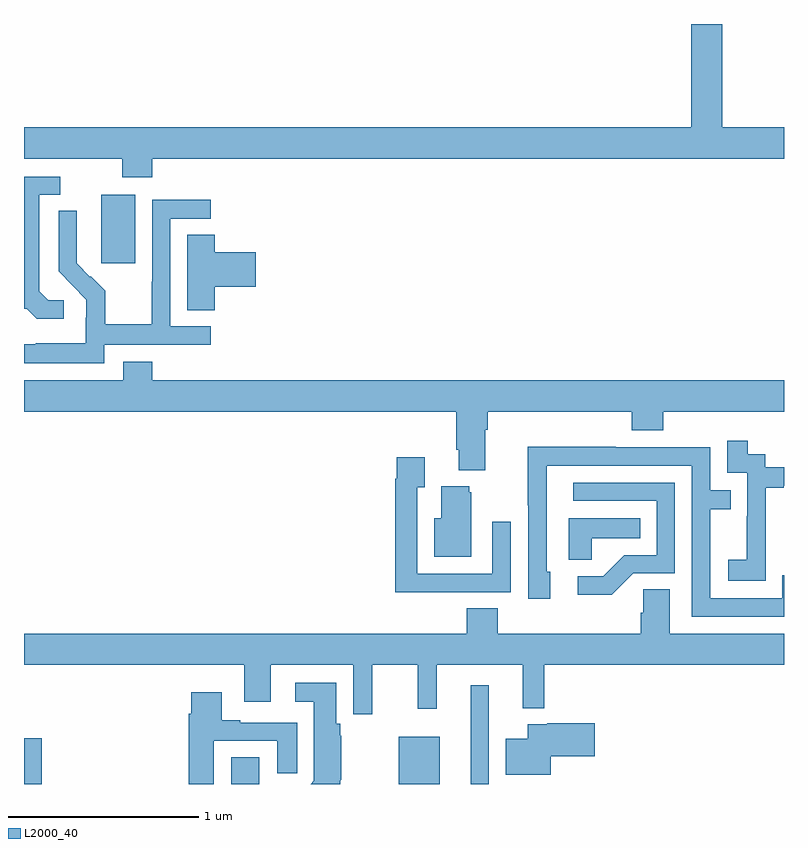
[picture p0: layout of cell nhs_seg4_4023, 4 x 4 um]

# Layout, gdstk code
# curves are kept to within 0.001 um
import gdstk
lib = gdstk.Library(unit=1e-6, precision=1e-09)
def R(c, l, rs):  # rectangles x0, y0, x1, y1
    for r in rs: c.add(gdstk.rectangle(r[:2], r[2:], *l))
def P(c, l, *ps):  # polygons
    for p in ps: c.add(gdstk.Polygon(p, *l))
L2000_40 = (2000, 40)

nhs_seg4_4023 = lib.new_cell('nhs_seg4_4023')
R(nhs_seg4_4023, L2000_40, [(325,754.9,325.094,755.14), (326.09,754.9,326.239,755.042), (326.972,754.9,327.187,755.149), (327.35,754.9,327.447,755.419), (325.406,757.641,325.585,758.002)])
P(nhs_seg4_4023, L2000_40, [(325.676,758.192),(329,758.192),(329,758.356),(328.675,758.356),(328.675,758.9),(328.511,758.9),(328.511,758.356),(325,758.356),(325,758.192),(325.516,758.192),(325.516,758.093),(325.676,758.093)],
  [(325.21,757.446),(325.128,757.446),(325.081,757.493),(325.081,758.001),(325.192,758.001),(325.192,758.097),(325,758.097),(325,757.401),(325.014,757.401),(325.066,757.349),(325.21,757.349)],
  [(325.422,757.212),(325.984,757.212),(325.984,757.308),(325.77,757.308),(325.77,757.875),(325.984,757.875),(325.984,757.974),(325.674,757.974),(325.674,757.544),(325.672,757.544),(325.672,757.321),(325.427,757.321),(325.427,757.495),(325.35,757.572),(325.347,757.569),(325.277,757.64),(325.278,757.916),(325.182,757.916),(325.182,757.598),(325.328,757.45),(325.328,757.353),(325.326,757.353),(325.326,757.219),(325.063,757.219),(325.063,757.215),(325,757.215),(325,757.115),(325.422,757.115)],
  [(326.003,757.517),(326.221,757.517),(326.221,757.7),(326.003,757.7),(326.003,757.79),(325.859,757.79),(325.859,757.393),(326.003,757.393)],
  [(327.427,756.764),(327.44,756.764),(327.44,756.86),(328.199,756.86),(328.199,756.761),(328.364,756.761),(328.364,756.86),(329,756.86),(329,757.024),(325.676,757.024),(325.676,757.123),(325.523,757.123),(325.523,757.024),(325,757.024),(325,756.86),(327.275,756.86),(327.275,756.658),(327.287,756.658),(327.287,756.551),(327.427,756.551)],
  [(328.905,756.175),(328.904,756.175),(328.904,756.459),(328.999,756.459),(328.999,756.471),(329,756.471),(329,756.567),(328.902,756.567),(328.902,756.636),(328.81,756.636),(328.81,756.706),(328.701,756.706),(328.701,756.537),(328.806,756.537),(328.806,756.308),(328.805,756.308),(328.805,756.079),(328.707,756.079),(328.707,755.969),(328.905,755.969)],
  [(329,756),(328.992,756),(328.992,755.877),(328.611,755.877),(328.611,756.346),(328.721,756.346),(328.721,756.447),(328.611,756.447),(328.611,756.672),(328.115,756.672),(328.115,756.674),(327.652,756.674),(327.652,756.367),(327.654,756.367),(327.654,755.874),(327.769,755.874),(327.769,756.018),(327.75,756.018),(327.75,756.576),(328.515,756.576),(328.515,755.781),(329,755.781)],
  [(327.245,755.91),(327.561,755.91),(327.561,756.28),(327.465,756.28),(327.465,756.006),(327.069,756.006),(327.069,756.463),(327.109,756.463),(327.109,756.619),(326.961,756.619),(326.961,756.506),(326.953,756.506),(326.953,755.909),(327.245,755.909)],
  [(328.206,756.009),(328.425,756.009),(328.425,756.486),(327.891,756.486),(327.891,756.39),(328.329,756.39),(328.329,756.105),(328.16,756.105),(328.049,755.994),(327.915,755.994),(327.915,755.897),(328.093,755.897)],
  [(327.355,756.435),(327.344,756.435),(327.344,756.466),(327.197,756.466),(327.197,756.298),(327.158,756.298),(327.158,756.095),(327.355,756.095)],
  [(327.987,756.194),(328.244,756.194),(328.244,756.298),(327.866,756.298),(327.866,756.079),(327.987,756.079)],
  [(326.832,755.528),(327.073,755.528),(327.073,755.295),(327.173,755.295),(327.173,755.528),(327.626,755.528),(327.626,755.3),(327.739,755.3),(327.739,755.528),(329,755.528),(329,755.692),(328.399,755.692),(328.399,755.924),(328.26,755.924),(328.26,755.801),(328.247,755.801),(328.247,755.692),(327.494,755.692),(327.494,755.825),(327.329,755.825),(327.329,755.692),(325,755.692),(325,755.528),(326.159,755.528),(326.159,755.334),(326.299,755.334),(326.299,755.528),(326.733,755.528),(326.733,755.268),(326.832,755.268)],
  [(326.664,754.917),(326.67,754.923),(326.67,755.154),(326.664,755.154),(326.664,755.217),(326.644,755.217),(326.644,755.434),(326.427,755.434),(326.427,755.333),(326.525,755.333),(326.525,754.916),(326.509,754.9),(326.664,754.9)],
  [(325.999,755.127),(326.333,755.127),(326.333,754.956),(326.437,754.956),(326.437,755.223),(326.137,755.223),(326.137,755.236),(326.041,755.236),(326.041,755.383),(325.88,755.383),(325.88,755.27),(325.868,755.27),(325.868,754.9),(325.999,754.9)],
  [(327.772,755.045),(328.003,755.045),(328.003,755.22),(327.754,755.22),(327.754,755.215),(327.65,755.215),(327.65,755.137),(327.536,755.137),(327.536,754.949),(327.772,754.949)])

lib.write_gds('nhs_seg4_4023.gds')
